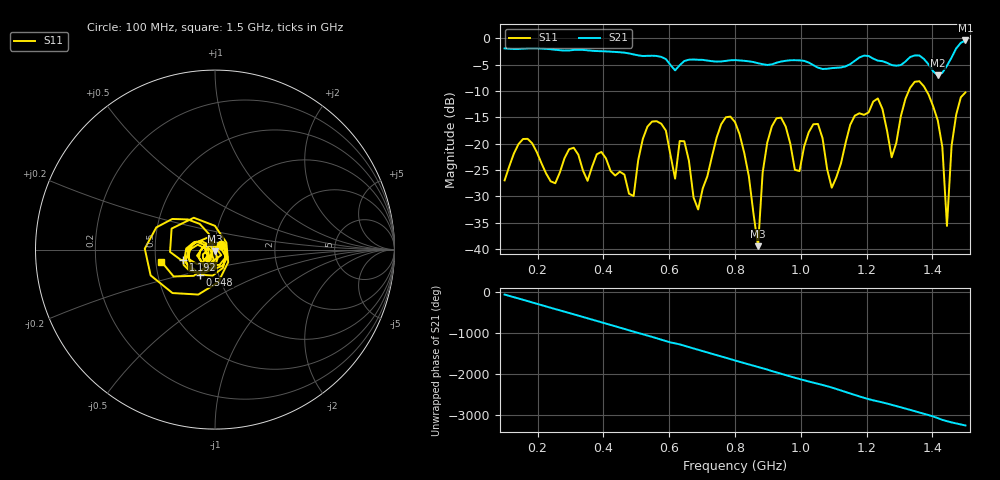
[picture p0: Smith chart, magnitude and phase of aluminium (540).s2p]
! NanoVNA-App
! Date: 2025-09-25 14:59:29
! Start: 100MHz Stop: 1,5GHz Points: 101
! S-Parameter data: F S11 S21 S12 S22
# Hz S RI R 50
!  Frequency  S11_Real  S11_Imag  S21_Real  S21_Imag  S12_Real  S12_Imag  S22_Real  S22_Imag
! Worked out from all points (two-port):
!   101 points, 100 MHz to 1.5 GHz, reference 50 ohm
!   highest |S21| = -0.42 dB at 1.5 GHz (marker M1); lowest = -7.0 dB at 1.416 GHz (marker M2)
!   |S21| within 3 dB of the highest: start of sweep to 566.6 MHz; 1.46 GHz to end of sweep (the widest 2 of 4)
!   lowest |S11| = -39.4 dB at 870 MHz (marker M3), VSWR 1.02, Z = 50.1 - j1.06 ohm
!   |S11| at or under -10 dB: start of sweep to 1.328 GHz; 1.382 GHz to end of sweep
!   S12 and S22 are empty: the file has one direction only
!   S11 on the Smith chart (normalised r, x): 100 MHz: 1.07, +0.06; 548 MHz: 0.82, -0.23; 1.192 GHz: 0.69, -0.08; 1.5 GHz: 0.54, -0.08
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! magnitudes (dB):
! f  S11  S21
! 100 MHz  -27.0  -1.9
! 156 MHz  -19.1  -2.0
! 338 MHz  -25.1  -2.2
! 492 MHz  -29.9  -3.1
! 548 MHz  -15.8  -3.3
! 576 MHz  -16.2  -3.5
! 646 MHz  -19.5  -4.3
! 688 MHz  -32.5  -4.1
! 800 MHz  -15.9  -4.1
! 870 MHz  -39.4  -4.7
! 912 MHz  -16.7  -5.0
! 996 MHz  -25.2  -4.2
! 1.038 GHz  -16.3  -5.1
! 1.094 GHz  -28.4  -5.7
! 1.192 GHz  -14.5  -3.3
! 1.234 GHz  -11.4  -4.3
! 1.276 GHz  -22.6  -5.1
! 1.346 GHz  -8.3  -3.3
! 1.416 GHz  -15.6  -7.0
! 1.444 GHz  -35.6  -5.2
! 1.458 GHz  -20.4  -3.7
! 1.5 GHz  -10.3  -0.4
